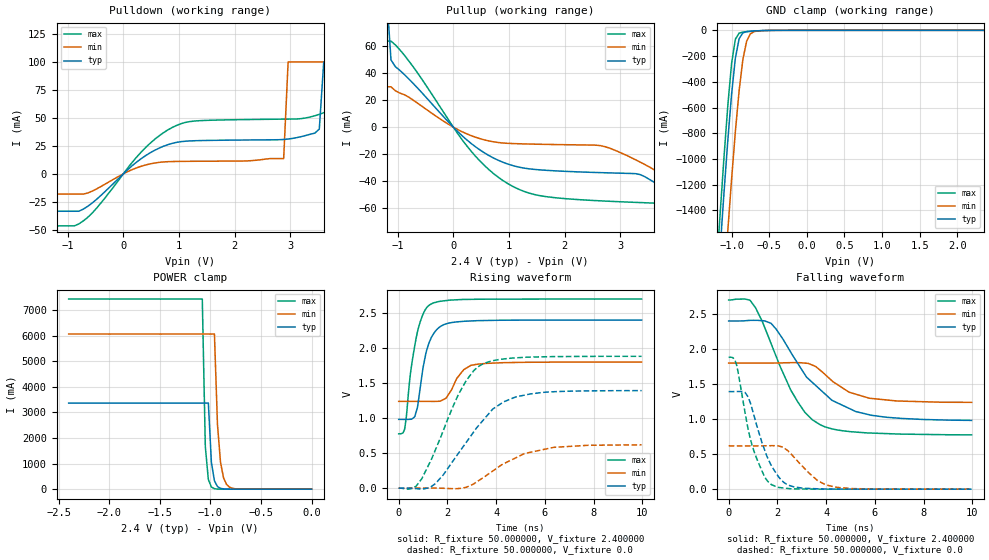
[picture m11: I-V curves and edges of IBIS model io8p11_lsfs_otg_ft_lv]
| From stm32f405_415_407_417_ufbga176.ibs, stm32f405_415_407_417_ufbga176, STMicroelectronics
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|   Model io8p11_lsfs_otg_ft_lv
[Model]  io8p11_lsfs_otg_ft_lv
Model_type I/O
Polarity   Non-Inverting
Enable   Active-Low
Vinl =   0.720000V
Vinh =   1.680000V
Vmeas =  1.200000V
Cref =   30.000000pF
Rref =   100.000000M
Vref =   0.0V
C_comp   7.971100pF   7.737700pF   8.264100pF
[Temperature Range]   25.000000   0.125000k   -40.000000
[Pullup Reference]   2.400000V   1.800000V   2.700000V
[Pulldown Reference]   0.0V   0.0V   0.0V
[POWER Clamp Reference]   2.400000V   1.800000V   2.700000V
[GND Clamp Reference]   0.0V   0.0V   0.0V
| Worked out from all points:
|   slope of the pulldown table from 0 to 0.36 V, typ, clamps not added: 24.1 ohm
|   slope of the pullup table from 0 to 0.36 V, typ, clamps not added: 26.8 ohm
|   GND clamp passes 1 mA (typ) near -0.52 V on its own axis
|   POWER clamp passes 1 mA (typ) near -0.81 V on its own axis
|   rising waveform, R_fixture 50.000000, V_fixture 2.400000: 20-80 % time 480ps typ, 591ps min, 481ps max; typ from 0.981 V to 2.4 V
|   rising waveform, R_fixture 50.000000, V_fixture 0.0: 20-80 % time 1.81ns typ, 1.82ns min, 1.43ns max; typ from 0 V to 1.39 V
|   falling waveform, R_fixture 50.000000, V_fixture 2.400000: 20-80 % time 1.98ns typ, 1.47ns min, 1.53ns max; typ from 2.4 V to 0.981 V
|   falling waveform, R_fixture 50.000000, V_fixture 0.0: 20-80 % time 864ps typ, 1.06ns min, 755ps max; typ from 1.39 V to 0 V
[Pulldown]
|Voltage   I(typ)   I(min)   I(max)
-2.4V     -33.44mA   -18.12mA   -46.52mA
-800mV    -33.44mA   -18.12mA   -44.78mA
1.04V     28.81mA    11.14mA    44.91mA
2.88V     30.71mA    13.65mA    48.89mA
2.96V     31.11mA    100mA      48.94mA
3.52V     40mA       100mA      53.15mA
3.6V      100mA      100mA      54.66mA
3.92V     100mA      100mA      60mA
4V        100mA      100mA      100mA
4.4V      100mA      100mA      100mA
4.48V     100mA      100mA      1A
4.8V      100mA      100mA      1A
[Pullup]
|Voltage   I(typ)   I(min)   I(max)
-2.4V     100mA      1A         100mA
-1.6V     100mA      1A         100mA
-1.52V    100mA      30mA       100mA
-1.28V    100mA      30mA       100mA
-1.2V     100mA      30mA       64mA
-1.12V    50mA       30mA       64mA
-1.04V    44.9mA     27mA       61.1mA
320mV     -12.14mA   -6.322mA   -17.91mA
1.12V     -29.18mA   -12.28mA   -45.16mA
3.36V     -35.34mA   -26.1mA    -56.1mA
4V        -52.4mA    -42mA      -67mA
4.72V     -74mA      -42mA      -94.8mA
[GND_clamp]
|Voltage   I(typ)   I(min)   I(max)
-2.4V     -9.765A    -9.942A    -9.572A
-1.2V     -2.124A    -2.851A    -1.855A
-1.15V    -1.682A    -2.408A    -1.408A
-1.1V     -1.256A    -1.975A    -979.8mA
-1.05V    -854.9mA   -1.556A    -584.5mA
-1V       -496.5mA   -1.158A    -257.5mA
-950mV    -217.7mA   -789.6mA   -69.52mA
-900mV    -65.57mA   -469.8mA   -21.5mA
-850mV    -19.64mA   -226.4mA   -13.56mA
-800mV    -9.753mA   -84.21mA   -10.47mA
-700mV    -4.923mA   -9.884mA   -5.807mA
2.35V     0A         0A         0A
[POWER_clamp]
|Voltage   I(typ)   I(min)   I(max)
-2.4V     3.365A     6.064A     7.43A
-1.08V    3.365A     6.064A     7.43A
-1.05V    3.365A     6.064A     1.669A
-1.02V    3.365A     6.064A     375mA
-990mV    1.047A     6.064A     84.24mA
-960mV    325.6mA    6.064A     18.93mA
-930mV    101.3mA    2.529A     4.252mA
-900mV    31.51mA    1.055A     955.2uA
-870mV    9.804mA    440.1mA    214.6uA
-840mV    3.05mA     183.6mA    74uA
-720mV    28.58uA    5.557mA    74uA
0V        0A         0A         0A
[Ramp]
| variable   typ   min   max
dV/dt_r  0.83454/1.81098n   0.36936/1.81412n   1.12842/1.42755n
dV/dt_f  0.84826/1.98515n   0.33504/1.46610n   1.15338/1.53062n
R_load = 50.000000
[Rising Waveform]
R_fixture= 50.000000
V_fixture= 2.400000
V_fixture_min= 1.800000
V_fixture_max= 2.700000
|time   V(typ)   V(min)   V(max)
0s        981.5mV    1.239V     775.1mV
260.3ps   981.1mV    1.239V     872.8mV
480.5ps   983.1mV    1.239V     1.63V
660.7ps   1.022V     1.239V     2.033V
780.8ps   1.174V     1.239V     2.245V
981ps     1.675V     1.239V     2.468V
1.321ns   2.135V     1.238V     2.628V
1.942ns   2.345V     1.283V     2.678V
2.963ns   2.387V     1.753V     2.696V
9.97ns    2.4V       1.8V       2.7V
[Rising Waveform]
R_fixture= 50.000000
V_fixture= 0.0
V_fixture_min= 0.0
V_fixture_max= 0.0
|time   V(typ)   V(min)   V(max)
0s        15.64uV    7.251uV    -171.9uV
600.6ps   -3.263mV   4.315uV    1.324mV
940.9ps   -12.43mV   24.09uV    129.4mV
1.502ns   61.97mV    -112.4uV   541.2mV
2.462ns   502.5mV    -5.532mV   1.345V
3.083ns   804.3mV    61.72mV    1.678V
3.383ns   935.6mV    130mV      1.759V
4.304ns   1.231V     346.6mV    1.844V
5.405ns   1.345V     511.4mV    1.871V
9.97ns    1.392V     617.9mV    1.882V
[Falling Waveform]
R_fixture= 50.000000
V_fixture= 2.400000
V_fixture_min= 1.800000
V_fixture_max= 2.700000
|time   V(typ)   V(min)   V(max)
0s        2.4V       1.8V       2.7V
880.9ps   2.409V     1.8V       2.694V
1.361ns   2.405V     1.8V       2.407V
1.742ns   2.366V     1.8V       2.077V
2.823ns   1.802V     1.805V     1.253V
3.203ns   1.596V     1.797V     1.07V
3.764ns   1.418V     1.695V     918.3mV
4.925ns   1.155V     1.387V     823mV
5.766ns   1.062V     1.298V     801.6mV
9.97ns    981.5mV    1.239V     775.1mV
[Falling Waveform]
R_fixture= 50.000000
V_fixture= 0.0
V_fixture_min= 0.0
V_fixture_max= 0.0
|time   V(typ)   V(min)   V(max)
0s        1.392V     617.9mV    1.882V
320.3ps   1.393V     617.9mV    1.78V
780.8ps   1.325V     617.9mV    887.8mV
981ps     1.122V     617.7mV    602.2mV
1.221ns   829.7mV    617.7mV    377.7mV
1.762ns   331.3mV    620.4mV    63.54mV
2.482ns   53.54mV    530.2mV    7.805mV
3.644ns   5.245mV    123.6mV    344.5uV
4.424ns   1.615mV    26.44mV    318uV
9.97ns    15.64uV    7.251uV    -171.9uV
